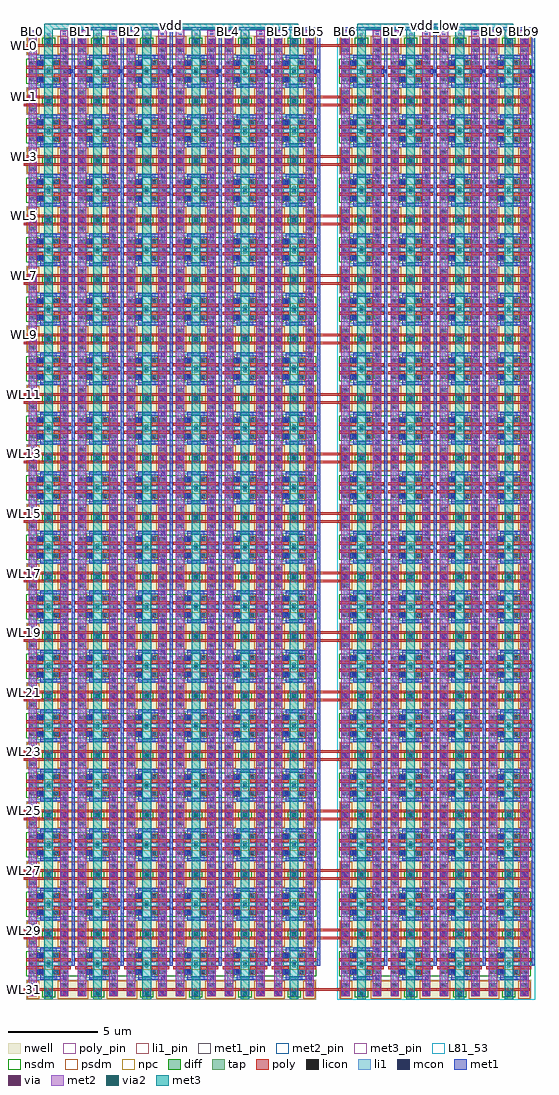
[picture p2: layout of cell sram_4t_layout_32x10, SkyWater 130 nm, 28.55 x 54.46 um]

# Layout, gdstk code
import gdstk
lib = gdstk.Library(unit=1e-6, precision=1e-09)
def R(c, l, rs):  # rectangles x0, y0, x1, y1
    for r in rs: c.add(gdstk.rectangle(r[:2], r[2:], *l))
def A(c, l, x, y, w, h, nx, ny, dx, dy):  # array of equal rectangles
    R(c, l, [(x+i*dx, y+j*dy, x+i*dx+w, y+j*dy+h) for i in range(nx) for j in range(ny)])
nwell = (64, 20)
diff = (65, 20)
tap = (65, 44)
poly_pin = (66, 16)
poly = (66, 20)
licon = (66, 44)
li1_pin = (67, 16)
li1 = (67, 20)
mcon = (67, 44)
met1_pin = (68, 16)
met1 = (68, 20)
via = (68, 44)
met2_pin = (69, 16)
met2 = (69, 20)
via2 = (69, 44)
met3_pin = (70, 16)
met3 = (70, 20)
L81_53 = (81, 53)
nsdm = (93, 44)
psdm = (94, 20)
npc = (95, 20)

sram_4t_layout = lib.new_cell('sram_4t_layout')
R(sram_4t_layout, nwell, [(0.49,1.47,2.98,2.56)])
R(sram_4t_layout, diff, [(0.62,0.44,1.04,1.13), (2.43,0.44,2.85,1.13), (0.67,1.65,1.09,2.38), (2.38,1.65,2.8,2.38)])
R(sram_4t_layout, tap, [(1.64,0.36,1.83,0.77), (1.5,2.14,1.98,2.31)])
R(sram_4t_layout, poly, [(0.49,0.71,1.45,0.86), (2.02,0.71,2.98,0.86), (1.12,0.86,1.45,1.19), (2.02,0.86,2.35,1.19), (0.54,1.92,2.93,2.07)])
A(sram_4t_layout, licon, 0.7, 0.48, 0.17, 0.17, 3, 1, 0.95, 0)
R(sram_4t_layout, licon, [(0.7,0.92,0.87,1.09), (2.6,0.92,2.77,1.09), (1.23,0.94,1.4,1.11), (2.07,0.94,2.24,1.11), (0.75,1.69,0.92,1.86), (2.55,1.69,2.72,1.86), (0.75,2.14,0.92,2.31), (1.66,2.14,1.83,2.31), (2.55,2.14,2.72,2.31)])
R(sram_4t_layout, li1, [(0.62,0.44,2.85,0.65), (1.64,0.65,1.83,0.69), (1.15,0.9,1.48,1.15), (1.99,0.9,2.32,1.15), (0.62,0.92,0.95,1.13), (2.52,0.92,2.85,1.13), (0.74,1.13,0.95,1.32), (2.52,1.13,2.73,1.69), (2.02,1.15,2.2,1.32), (0.74,1.32,2.2,1.49), (0.74,1.49,0.95,1.69), (0.67,1.69,1,1.86), (2.47,1.69,2.8,1.86), (1.53,2.08,1.95,2.37), (0.67,2.09,1.01,2.36), (2.46,2.09,2.8,2.36)])
R(sram_4t_layout, mcon, [(1.23,0.94,1.4,1.11), (2.55,1.26,2.72,1.43), (0.75,2.14,0.92,2.31), (1.66,2.14,1.83,2.31), (2.55,2.14,2.72,2.31)])
R(sram_4t_layout, met1, [(1.12,0.86,1.45,1.19), (1.27,1.19,1.45,1.26), (2.49,1.2,2.76,1.26), (1.27,1.26,2.76,1.45), (2.49,1.45,2.76,1.49), (1.5,2.08,1.98,2.37), (0.67,2.09,1.01,2.36), (2.46,2.09,2.8,2.36)])
R(sram_4t_layout, via, [(0.765,2.15,0.915,2.3), (1.67,2.15,1.82,2.3), (2.555,2.15,2.705,2.3)])
R(sram_4t_layout, met2, [(0.62,0.44,1.09,2.38), (2.38,0.44,2.85,2.38), (1.5,2.08,1.98,2.37)])
R(sram_4t_layout, via2, [(1.645,2.125,1.845,2.325)])
R(sram_4t_layout, met3, [(1.5,0.36,1.98,2.54)])
R(sram_4t_layout, nsdm, [(0.495,0.315,1.165,1.255), (2.305,0.315,2.975,1.255), (1.375,2.015,2.105,2.435)])
R(sram_4t_layout, psdm, [(1.515,0.235,1.955,0.895), (0.545,1.525,1.215,2.505), (2.255,1.525,2.925,2.505)])
R(sram_4t_layout, npc, [(1.13,0.84,1.5,1.21), (1.97,0.84,2.34,1.21)])
sram_4t_layout.add(gdstk.Label('Q', (1.16,1.36), layer=67, texttype=5))
sram_4t_layout.add(gdstk.Label('Qb', (2.29,1.34), layer=68, texttype=5))
sram_4t_layout.add(gdstk.Label('vdd', (1.73,1.8), layer=70, texttype=5))
sram_4t_layout.add(gdstk.Label('gnd', (1.36,0.53), layer=67, texttype=5))
sram_4t_layout.add(gdstk.Label('WL', (1.42,2), layer=66, texttype=5))
sram_4t_layout.add(gdstk.Label('BL', (0.87,2.36), layer=69, texttype=5))
sram_4t_layout.add(gdstk.Label('BLb', (2.58,2.36), layer=69, texttype=5))

sram_4t_layout_32x1 = lib.new_cell('sram_4t_layout_32x1')
A(sram_4t_layout_32x1, poly_pin, -0.07, -21.19, 0.05, 0.08, 1, 3, 0, 3.32)
R(sram_4t_layout_32x1, poly_pin, [(-0.07,-51.07,-0.02,-50.99), (-0.07,-48.21,-0.02,-48.13), (-0.07,-47.75,-0.02,-47.67), (-0.07,-44.88,-0.02,-44.8), (-0.07,-44.43,-0.02,-44.35), (-0.07,-41.57,-0.02,-41.49), (-0.07,-41.12,-0.02,-41.04), (-0.07,-38.25,-0.02,-38.17), (-0.07,-37.79,-0.02,-37.71), (-0.07,-34.93,-0.02,-34.85), (-0.07,-34.47,-0.02,-34.39), (-0.07,-31.61,-0.02,-31.53), (-0.07,-31.15,-0.02,-31.07), (-0.07,-28.29,-0.02,-28.21), (-0.07,-27.83,-0.02,-27.75), (-0.07,-24.96,-0.02,-24.88), (-0.07,-24.51,-0.02,-24.43), (-0.07,-21.65,-0.02,-21.57), (-0.08,-18.33,-0.03,-18.25), (-0.06,-15.01,-0.01,-14.93), (-0.07,-11.69,-0.02,-11.61), (-0.07,-11.22,-0.02,-11.14), (-0.07,-8.36,-0.02,-8.28), (-0.07,-7.91,-0.02,-7.83), (-0.07,-5.05,-0.02,-4.97), (-0.07,-4.59,-0.02,-4.51), (-0.07,-1.73,-0.02,-1.65), (-0.07,-1.27,-0.02,-1.19), (-0.08,1.59,-0.01,1.67)])
R(sram_4t_layout_32x1, poly, [(-0.09,-51.1,2.44,-50.95), (-0.09,-48.24,2.44,-48.09), (-0.09,-47.78,2.44,-47.63), (-0.09,-44.92,2.44,-44.77), (-0.09,-44.46,2.44,-44.31), (-0.09,-41.6,2.44,-41.45), (-0.09,-41.14,2.44,-40.99), (-0.09,-38.28,2.44,-38.13), (-0.09,-37.82,2.44,-37.67), (-0.09,-34.96,2.44,-34.81), (-0.09,-34.5,2.44,-34.35), (-0.09,-31.64,2.44,-31.49), (-0.09,-31.18,2.44,-31.03), (-0.09,-28.32,2.44,-28.17), (-0.09,-27.86,2.44,-27.71), (-0.09,-25,2.44,-24.85), (-0.09,-24.54,2.44,-24.39), (-0.09,-21.68,2.44,-21.53), (-0.09,-21.22,2.44,-21.07), (-0.09,-18.36,2.44,-18.21), (-0.09,-17.9,2.44,-17.75), (-0.09,-15.04,2.44,-14.89), (-0.09,-14.58,2.44,-14.43), (-0.09,-11.72,2.44,-11.57), (-0.09,-11.26,2.44,-11.11), (-0.09,-8.4,2.44,-8.25), (-0.09,-7.94,2.44,-7.79), (-0.09,-5.08,2.44,-4.93), (-0.09,-4.62,2.44,-4.47), (-0.09,-1.76,2.44,-1.61), (-0.09,-1.3,2.44,-1.15), (-0.09,1.56,2.44,1.71)])
R(sram_4t_layout_32x1, li1_pin, [(2.53,0.13,2.63,0.24)])
A(sram_4t_layout_32x1, li1, 1.89, -49.72, 0.81, 0.25, 1, 7, 0, 3.32)
A(sram_4t_layout_32x1, li1, 2.53, -49.47, 0.17, 3.07, 1, 15, 0, 3.32)
A(sram_4t_layout_32x1, li1, 1.89, -23.16, 0.81, 0.25, 1, 5, 0, 3.32)
R(sram_4t_layout_32x1, li1, [(1.87,-26.48,2.7,-26.23), (1.87,-6.56,2.7,-6.31), (1.89,-3.24,2.7,-2.99), (1.89,0.08,2.7,0.33)])
R(sram_4t_layout_32x1, met2_pin, [(0.28,2.23,0.45,2.31), (2.04,2.24,2.21,2.32)])
R(sram_4t_layout_32x1, met2, [(0.13,-51.41,0.6,2.35), (1.89,-51.41,2.36,2.35)])
R(sram_4t_layout_32x1, met3_pin, [(1.18,2.22,1.33,2.32)])
R(sram_4t_layout_32x1, met3, [(1.01,-51.4,1.49,2.35)])
sram_4t_layout_32x1.add(gdstk.Reference(sram_4t_layout, (-0.49,-49.03), x_reflection=True))
sram_4t_layout_32x1.add(gdstk.Reference(sram_4t_layout, (-0.49,-50.16)))
sram_4t_layout_32x1.add(gdstk.Reference(sram_4t_layout, (-0.49,-45.71), x_reflection=True))
sram_4t_layout_32x1.add(gdstk.Reference(sram_4t_layout, (-0.49,-42.39), x_reflection=True))
sram_4t_layout_32x1.add(gdstk.Reference(sram_4t_layout, (-0.49,-46.84)))
sram_4t_layout_32x1.add(gdstk.Reference(sram_4t_layout, (-0.49,-43.52)))
sram_4t_layout_32x1.add(gdstk.Reference(sram_4t_layout, (-0.49,-39.07), x_reflection=True))
sram_4t_layout_32x1.add(gdstk.Reference(sram_4t_layout, (-0.49,-35.75), x_reflection=True))
sram_4t_layout_32x1.add(gdstk.Reference(sram_4t_layout, (-0.49,-40.2)))
sram_4t_layout_32x1.add(gdstk.Reference(sram_4t_layout, (-0.49,-36.88)))
sram_4t_layout_32x1.add(gdstk.Reference(sram_4t_layout, (-0.49,-32.43), x_reflection=True))
sram_4t_layout_32x1.add(gdstk.Reference(sram_4t_layout, (-0.49,-29.11), x_reflection=True))
sram_4t_layout_32x1.add(gdstk.Reference(sram_4t_layout, (-0.49,-33.56)))
sram_4t_layout_32x1.add(gdstk.Reference(sram_4t_layout, (-0.49,-30.24)))
sram_4t_layout_32x1.add(gdstk.Reference(sram_4t_layout, (-0.49,-25.79), x_reflection=True))
sram_4t_layout_32x1.add(gdstk.Reference(sram_4t_layout, (-0.49,-22.47), x_reflection=True))
sram_4t_layout_32x1.add(gdstk.Reference(sram_4t_layout, (-0.49,-26.92)))
sram_4t_layout_32x1.add(gdstk.Reference(sram_4t_layout, (-0.49,-23.6)))
sram_4t_layout_32x1.add(gdstk.Reference(sram_4t_layout, (-0.49,-19.15), x_reflection=True))
sram_4t_layout_32x1.add(gdstk.Reference(sram_4t_layout, (-0.49,-15.83), x_reflection=True))
sram_4t_layout_32x1.add(gdstk.Reference(sram_4t_layout, (-0.49,-20.28)))
sram_4t_layout_32x1.add(gdstk.Reference(sram_4t_layout, (-0.49,-16.96)))
sram_4t_layout_32x1.add(gdstk.Reference(sram_4t_layout, (-0.49,-12.51), x_reflection=True))
sram_4t_layout_32x1.add(gdstk.Reference(sram_4t_layout, (-0.49,-9.19), x_reflection=True))
sram_4t_layout_32x1.add(gdstk.Reference(sram_4t_layout, (-0.49,-13.64)))
sram_4t_layout_32x1.add(gdstk.Reference(sram_4t_layout, (-0.49,-10.32)))
sram_4t_layout_32x1.add(gdstk.Reference(sram_4t_layout, (-0.49,-5.87), x_reflection=True))
sram_4t_layout_32x1.add(gdstk.Reference(sram_4t_layout, (-0.49,-2.55), x_reflection=True))
sram_4t_layout_32x1.add(gdstk.Reference(sram_4t_layout, (-0.49,-7)))
sram_4t_layout_32x1.add(gdstk.Reference(sram_4t_layout, (-0.49,-3.68)))
sram_4t_layout_32x1.add(gdstk.Reference(sram_4t_layout, (-0.49,0.77), x_reflection=True))
sram_4t_layout_32x1.add(gdstk.Reference(sram_4t_layout, (-0.49,-0.36)))
sram_4t_layout_32x1.add(gdstk.Label('WL0', (-0.045,1.63), layer=66, texttype=5))
sram_4t_layout_32x1.add(gdstk.Label('WL1', (-0.045,-1.23), layer=66, texttype=5))
sram_4t_layout_32x1.add(gdstk.Label('WL2', (-0.045,-1.69), layer=66, texttype=5))
sram_4t_layout_32x1.add(gdstk.Label('WL3', (-0.045,-4.55), layer=66, texttype=5))
sram_4t_layout_32x1.add(gdstk.Label('WL4', (-0.045,-5.01), layer=66, texttype=5))
sram_4t_layout_32x1.add(gdstk.Label('WL5', (-0.045,-7.87), layer=66, texttype=5))
sram_4t_layout_32x1.add(gdstk.Label('WL6', (-0.045,-8.32), layer=66, texttype=5))
sram_4t_layout_32x1.add(gdstk.Label('WL7', (-0.045,-11.18), layer=66, texttype=5))
sram_4t_layout_32x1.add(gdstk.Label('WL8', (-0.045,-11.65), layer=66, texttype=5))
sram_4t_layout_32x1.add(gdstk.Label('WL9', (-0.045,-14.51), layer=66, texttype=5))
sram_4t_layout_32x1.add(gdstk.Label('WL10', (-0.035,-14.97), layer=66, texttype=5))
sram_4t_layout_32x1.add(gdstk.Label('WL11', (-0.045,-17.83), layer=66, texttype=5))
sram_4t_layout_32x1.add(gdstk.Label('WL12', (-0.055,-18.29), layer=66, texttype=5))
sram_4t_layout_32x1.add(gdstk.Label('WL13', (-0.045,-21.15), layer=66, texttype=5))
sram_4t_layout_32x1.add(gdstk.Label('WL14', (-0.045,-21.61), layer=66, texttype=5))
sram_4t_layout_32x1.add(gdstk.Label('WL15', (-0.045,-24.47), layer=66, texttype=5))
sram_4t_layout_32x1.add(gdstk.Label('WL16', (-0.045,-24.92), layer=66, texttype=5))
sram_4t_layout_32x1.add(gdstk.Label('WL17', (-0.045,-27.79), layer=66, texttype=5))
sram_4t_layout_32x1.add(gdstk.Label('WL18', (-0.045,-28.25), layer=66, texttype=5))
sram_4t_layout_32x1.add(gdstk.Label('WL19', (-0.045,-31.11), layer=66, texttype=5))
sram_4t_layout_32x1.add(gdstk.Label('WL20', (-0.045,-31.57), layer=66, texttype=5))
sram_4t_layout_32x1.add(gdstk.Label('WL21', (-0.045,-34.43), layer=66, texttype=5))
sram_4t_layout_32x1.add(gdstk.Label('WL22', (-0.045,-34.89), layer=66, texttype=5))
sram_4t_layout_32x1.add(gdstk.Label('WL23', (-0.045,-37.75), layer=66, texttype=5))
sram_4t_layout_32x1.add(gdstk.Label('WL24', (-0.045,-38.21), layer=66, texttype=5))
sram_4t_layout_32x1.add(gdstk.Label('WL25', (-0.045,-41.08), layer=66, texttype=5))
sram_4t_layout_32x1.add(gdstk.Label('WL26', (-0.045,-41.53), layer=66, texttype=5))
sram_4t_layout_32x1.add(gdstk.Label('WL27', (-0.045,-44.39), layer=66, texttype=5))
sram_4t_layout_32x1.add(gdstk.Label('WL28', (-0.045,-44.84), layer=66, texttype=5))
sram_4t_layout_32x1.add(gdstk.Label('WL29', (-0.045,-47.71), layer=66, texttype=5))
sram_4t_layout_32x1.add(gdstk.Label('WL30', (-0.045,-48.17), layer=66, texttype=5))
sram_4t_layout_32x1.add(gdstk.Label('WL31', (-0.045,-51.03), layer=66, texttype=5))
sram_4t_layout_32x1.add(gdstk.Label('BL', (0.365,2.27), layer=69, texttype=5))
sram_4t_layout_32x1.add(gdstk.Label('BLb', (2.125,2.28), layer=69, texttype=5))
sram_4t_layout_32x1.add(gdstk.Label('vdd', (1.255,2.27), layer=70, texttype=5))
sram_4t_layout_32x1.add(gdstk.Label('gnd', (2.58,0.185), layer=67, texttype=5))

sram_4t_layout_32x10 = lib.new_cell('sram_4t_layout_32x10')
A(sram_4t_layout_32x10, nwell, 0.09, 2.9, 16.19, 1.51, 1, 15, 0, 3.32)
A(sram_4t_layout_32x10, nwell, 17.55, 2.9, 10.71, 1.51, 1, 15, 0, 3.32)
R(sram_4t_layout_32x10, nwell, [(0.09,0,16.28,1.09), (17.55,0,28.25,1.09), (0.09,52.7,16.28,53.79), (17.55,52.7,28.25,53.79)])
R(sram_4t_layout_32x10, poly_pin, [(-0.04,0.52,0.01,0.59), (-0.04,3.38,0.01,3.45), (-0.04,3.84,0.01,3.91), (-0.04,6.7,0.01,6.77), (-0.04,7.16,0.01,7.23), (-0.04,10.02,0.01,10.09), (-0.03,10.49,0.02,10.56), (-0.04,13.34,0.01,13.41), (-0.04,13.8,0.01,13.87), (-0.04,16.66,0.01,16.73), (-0.04,17.12,0.01,17.19), (-0.04,19.98,0.01,20.05), (-0.04,20.44,0.01,20.51), (-0.04,23.3,0.01,23.37), (-0.04,23.76,0.01,23.83), (-0.04,26.62,0.01,26.69), (-0.04,27.08,0.01,27.15), (-0.04,29.94,0.01,30.01), (-0.04,30.41,0.01,30.48), (-0.04,33.26,0.01,33.33), (-0.04,33.72,0.01,33.79), (-0.04,36.58,0.01,36.65), (-0.04,37.05,0.01,37.12), (-0.04,39.9,0.01,39.97), (-0.04,40.37,0.01,40.44), (-0.04,43.22,0.01,43.29), (-0.04,43.69,0.01,43.76), (-0.04,46.54,0.01,46.61), (-0.04,47,0.01,47.07), (-0.04,49.86,0.01,49.93), (-0.04,50.33,0.01,50.4), (-0.04,53.19,0.01,53.26)])
R(sram_4t_layout_32x10, poly, [(-0.05,0.49,28.21,0.64), (-0.05,3.35,28.21,3.5), (-0.05,3.81,28.21,3.96), (-0.05,6.67,28.21,6.82), (-0.05,7.13,28.21,7.28), (-0.05,9.99,28.21,10.14), (-0.05,10.45,28.21,10.6), (-0.05,13.31,28.21,13.46), (-0.05,13.77,28.21,13.92), (-0.05,16.63,28.21,16.78), (-0.05,17.09,28.21,17.24), (-0.05,19.95,28.21,20.1), (-0.05,20.41,28.21,20.56), (-0.05,23.27,28.21,23.42), (-0.05,23.73,28.21,23.88), (-0.05,26.59,28.21,26.74), (-0.05,27.05,28.21,27.2), (-0.05,29.91,28.21,30.06), (-0.05,30.37,28.21,30.52), (-0.05,33.23,28.21,33.38), (-0.05,33.69,28.21,33.84), (-0.05,36.55,28.21,36.7), (-0.05,37.01,28.21,37.16), (-0.05,39.87,28.21,40.02), (-0.05,40.33,28.21,40.48), (-0.05,43.19,28.21,43.34), (-0.05,43.65,28.21,43.8), (-0.05,46.51,28.21,46.66), (-0.05,46.97,28.21,47.12), (-0.05,49.83,28.21,49.98), (-0.05,50.29,28.21,50.44), (-0.05,53.15,28.21,53.3)])
R(sram_4t_layout_32x10, li1, [(8.03,51.7,8.2,51.87), (25.5,51.7,25.67,51.87), (2.52,51.71,2.69,51.88), (5.28,51.71,5.45,51.88), (13.51,51.71,13.68,51.88), (16.26,51.71,16.43,51.88), (20.01,51.71,20.18,51.88), (22.77,51.71,22.94,51.88), (28.25,51.71,28.42,51.88), (10.76,51.72,10.93,51.89)])
R(sram_4t_layout_32x10, mcon, [(8.03,51.7,8.2,51.87), (25.5,51.7,25.67,51.87), (2.52,51.71,2.69,51.88), (5.28,51.71,5.45,51.88), (13.51,51.71,13.68,51.88), (16.26,51.71,16.43,51.88), (20.01,51.71,20.18,51.88), (22.77,51.71,22.94,51.88), (28.25,51.71,28.42,51.88), (10.76,51.72,10.93,51.89)])
R(sram_4t_layout_32x10, met1_pin, [(16.25,54.1,16.45,54.2), (17.5,54.1,17.65,54.2)])
A(sram_4t_layout_32x10, met1, 2.62, 1.87, 0.17, 49.8, 6, 1, 2.74, 0)
A(sram_4t_layout_32x10, met1, 20.08, 1.87, 0.17, 49.8, 4, 1, 2.74, 0)
A(sram_4t_layout_32x10, met1, 2.45, 51.67, 0.34, 0.25, 6, 1, 2.74, 0)
A(sram_4t_layout_32x10, met1, 19.91, 51.67, 0.34, 0.25, 4, 1, 2.74, 0)
A(sram_4t_layout_32x10, met1, 2.62, 51.92, 0.17, 2.15, 6, 1, 2.74, 0)
A(sram_4t_layout_32x10, met1, 20.08, 51.92, 0.17, 2.15, 4, 1, 2.74, 0)
R(sram_4t_layout_32x10, met1, [(2.62,54.07,16.5,54.25), (17.45,54.07,28.47,54.25)])
R(sram_4t_layout_32x10, met2_pin, [(0.37,53.99,0.52,54.05), (2.15,54,2.3,54.06), (3.11,54,3.26,54.06), (4.86,54,5.01,54.06), (5.86,54,6.01,54.06), (7.62,54,7.77,54.06), (8.6,54,8.75,54.06), (10.35,54,10.5,54.06), (11.33,54,11.48,54.06), (13.09,54,13.24,54.06), (14.07,54,14.22,54.06), (15.83,54,15.98,54.06), (17.83,54,17.98,54.06), (19.6,54,19.75,54.06), (20.58,54,20.73,54.06), (22.34,54,22.49,54.06), (23.32,54,23.47,54.06), (25.07,54,25.22,54.06), (26.06,54,26.21,54.06), (27.82,54,27.97,54.06)])
R(sram_4t_layout_32x10, met2, [(0.22,0.18,0.69,54.07), (1.98,0.18,2.45,54.07), (2.96,0.18,3.43,54.07), (4.72,0.18,5.19,54.07), (5.7,0.18,6.17,54.07), (7.46,0.18,7.93,54.07), (8.44,0.18,8.91,54.07), (10.2,0.18,10.67,54.07), (11.18,0.18,11.65,54.07), (12.94,0.18,13.41,54.07), (13.92,0.18,14.39,54.07), (15.68,0.18,16.15,54.07), (17.68,0.18,18.15,54.07), (19.44,0.18,19.91,54.07), (20.42,0.18,20.89,54.07), (22.18,0.18,22.65,54.07), (23.16,0.18,23.63,54.07), (24.92,0.18,25.39,54.07), (25.9,0.18,26.37,54.07), (27.66,0.18,28.13,54.07)])
R(sram_4t_layout_32x10, met3_pin, [(8.1,54.29,8.25,54.42), (22.83,54.29,22.98,54.42)])
A(sram_4t_layout_32x10, met3, 1.1, 0.19, 0.48, 53.95, 6, 1, 2.74, 0)
A(sram_4t_layout_32x10, met3, 18.56, 0.19, 0.48, 53.95, 4, 1, 2.74, 0)
R(sram_4t_layout_32x10, met3, [(1.1,54.14,15.28,54.46), (18.56,54.14,27.26,54.45)])
R(sram_4t_layout_32x10, L81_53, [(17.45,0,28.5,54.25)])
A(sram_4t_layout_32x10, nsdm, 2.575, 1.305, 0.26, 1.38, 5, 16, 2.74, 3.32)
A(sram_4t_layout_32x10, nsdm, 20.035, 1.305, 0.26, 1.38, 3, 16, 2.74, 3.32)
A(sram_4t_layout_32x10, psdm, 2.525, 0.055, 0.36, 0.98, 5, 2, 2.74, 52.7)
A(sram_4t_layout_32x10, psdm, 19.985, 0.055, 0.36, 0.98, 3, 2, 2.74, 52.7)
A(sram_4t_layout_32x10, psdm, 2.525, 2.955, 0.36, 1.4, 5, 15, 2.74, 3.32)
A(sram_4t_layout_32x10, psdm, 19.985, 2.955, 0.36, 1.4, 3, 15, 2.74, 3.32)
sram_4t_layout_32x10.add(gdstk.Reference(sram_4t_layout_32x1, (0.09,51.59)))
sram_4t_layout_32x10.add(gdstk.Reference(sram_4t_layout_32x1, (2.83,51.59)))
sram_4t_layout_32x10.add(gdstk.Reference(sram_4t_layout_32x1, (5.57,51.59)))
sram_4t_layout_32x10.add(gdstk.Reference(sram_4t_layout_32x1, (8.31,51.59)))
sram_4t_layout_32x10.add(gdstk.Reference(sram_4t_layout_32x1, (11.05,51.59)))
sram_4t_layout_32x10.add(gdstk.Reference(sram_4t_layout_32x1, (13.79,51.59)))
sram_4t_layout_32x10.add(gdstk.Reference(sram_4t_layout_32x1, (17.55,51.59)))
sram_4t_layout_32x10.add(gdstk.Reference(sram_4t_layout_32x1, (20.29,51.59)))
sram_4t_layout_32x10.add(gdstk.Reference(sram_4t_layout_32x1, (23.03,51.59)))
sram_4t_layout_32x10.add(gdstk.Reference(sram_4t_layout_32x1, (25.77,51.59)))
sram_4t_layout_32x10.add(gdstk.Label('vdd', (8.175,54.355), layer=70, texttype=5))
sram_4t_layout_32x10.add(gdstk.Label('vdd_low', (22.905,54.355), layer=70, texttype=5))
sram_4t_layout_32x10.add(gdstk.Label('BL0', (0.445,54.02), layer=69, texttype=5))
sram_4t_layout_32x10.add(gdstk.Label('BL1', (3.185,54.03), layer=69, texttype=5))
sram_4t_layout_32x10.add(gdstk.Label('BL2', (5.935,54.03), layer=69, texttype=5))
sram_4t_layout_32x10.add(gdstk.Label('BL3', (8.675,54.03), layer=69, texttype=5))
sram_4t_layout_32x10.add(gdstk.Label('BL4', (11.405,54.03), layer=69, texttype=5))
sram_4t_layout_32x10.add(gdstk.Label('BL5', (14.145,54.03), layer=69, texttype=5))
sram_4t_layout_32x10.add(gdstk.Label('BL6', (17.905,54.03), layer=69, texttype=5))
sram_4t_layout_32x10.add(gdstk.Label('BL7', (20.655,54.03), layer=69, texttype=5))
sram_4t_layout_32x10.add(gdstk.Label('BL8', (23.395,54.03), layer=69, texttype=5))
sram_4t_layout_32x10.add(gdstk.Label('BL9', (26.135,54.03), layer=69, texttype=5))
sram_4t_layout_32x10.add(gdstk.Label('BLb0', (2.225,54.03), layer=69, texttype=5))
sram_4t_layout_32x10.add(gdstk.Label('BLb1', (4.935,54.03), layer=69, texttype=5))
sram_4t_layout_32x10.add(gdstk.Label('BLb2', (7.695,54.03), layer=69, texttype=5))
sram_4t_layout_32x10.add(gdstk.Label('BLb3', (10.425,54.03), layer=69, texttype=5))
sram_4t_layout_32x10.add(gdstk.Label('BLb4', (13.165,54.03), layer=69, texttype=5))
sram_4t_layout_32x10.add(gdstk.Label('BLb5', (15.905,54.03), layer=69, texttype=5))
sram_4t_layout_32x10.add(gdstk.Label('BLb6', (19.675,54.03), layer=69, texttype=5))
sram_4t_layout_32x10.add(gdstk.Label('BLb7', (22.415,54.03), layer=69, texttype=5))
sram_4t_layout_32x10.add(gdstk.Label('BLb8', (25.145,54.03), layer=69, texttype=5))
sram_4t_layout_32x10.add(gdstk.Label('BLb9', (27.895,54.03), layer=69, texttype=5))
sram_4t_layout_32x10.add(gdstk.Label('WL0', (-0.015,53.225), layer=66, texttype=5))
sram_4t_layout_32x10.add(gdstk.Label('WL1', (-0.015,50.365), layer=66, texttype=5))
sram_4t_layout_32x10.add(gdstk.Label('WL2', (-0.015,49.895), layer=66, texttype=5))
sram_4t_layout_32x10.add(gdstk.Label('WL3', (-0.015,47.035), layer=66, texttype=5))
sram_4t_layout_32x10.add(gdstk.Label('WL4', (-0.015,46.575), layer=66, texttype=5))
sram_4t_layout_32x10.add(gdstk.Label('WL5', (-0.015,43.725), layer=66, texttype=5))
sram_4t_layout_32x10.add(gdstk.Label('WL6', (-0.015,43.255), layer=66, texttype=5))
sram_4t_layout_32x10.add(gdstk.Label('WL7', (-0.015,40.405), layer=66, texttype=5))
sram_4t_layout_32x10.add(gdstk.Label('WL8', (-0.015,39.935), layer=66, texttype=5))
sram_4t_layout_32x10.add(gdstk.Label('WL9', (-0.015,37.085), layer=66, texttype=5))
sram_4t_layout_32x10.add(gdstk.Label('WL10', (-0.015,36.615), layer=66, texttype=5))
sram_4t_layout_32x10.add(gdstk.Label('WL11', (-0.015,33.755), layer=66, texttype=5))
sram_4t_layout_32x10.add(gdstk.Label('WL12', (-0.015,33.295), layer=66, texttype=5))
sram_4t_layout_32x10.add(gdstk.Label('WL13', (-0.015,30.445), layer=66, texttype=5))
sram_4t_layout_32x10.add(gdstk.Label('WL14', (-0.015,29.975), layer=66, texttype=5))
sram_4t_layout_32x10.add(gdstk.Label('WL15', (-0.015,27.115), layer=66, texttype=5))
sram_4t_layout_32x10.add(gdstk.Label('WL16', (-0.015,26.655), layer=66, texttype=5))
sram_4t_layout_32x10.add(gdstk.Label('WL17', (-0.015,23.795), layer=66, texttype=5))
sram_4t_layout_32x10.add(gdstk.Label('WL18', (-0.015,23.335), layer=66, texttype=5))
sram_4t_layout_32x10.add(gdstk.Label('WL19', (-0.015,20.475), layer=66, texttype=5))
sram_4t_layout_32x10.add(gdstk.Label('WL20', (-0.015,20.015), layer=66, texttype=5))
sram_4t_layout_32x10.add(gdstk.Label('WL21', (-0.015,17.155), layer=66, texttype=5))
sram_4t_layout_32x10.add(gdstk.Label('WL22', (-0.015,16.695), layer=66, texttype=5))
sram_4t_layout_32x10.add(gdstk.Label('WL23', (-0.015,13.835), layer=66, texttype=5))
sram_4t_layout_32x10.add(gdstk.Label('WL24', (-0.015,13.375), layer=66, texttype=5))
sram_4t_layout_32x10.add(gdstk.Label('WL25', (-0.005,10.525), layer=66, texttype=5))
sram_4t_layout_32x10.add(gdstk.Label('WL26', (-0.015,10.055), layer=66, texttype=5))
sram_4t_layout_32x10.add(gdstk.Label('WL27', (-0.015,7.195), layer=66, texttype=5))
sram_4t_layout_32x10.add(gdstk.Label('WL28', (-0.015,6.735), layer=66, texttype=5))
sram_4t_layout_32x10.add(gdstk.Label('WL29', (-0.015,3.875), layer=66, texttype=5))
sram_4t_layout_32x10.add(gdstk.Label('WL30', (-0.015,3.415), layer=66, texttype=5))
sram_4t_layout_32x10.add(gdstk.Label('WL31', (-0.015,0.555), layer=66, texttype=5))
sram_4t_layout_32x10.add(gdstk.Label('vssd2', (17.575,54.15), layer=68, texttype=5))
sram_4t_layout_32x10.add(gdstk.Label('vssd1', (16.35,54.15), layer=68, texttype=5))

lib.write_gds('sram_4t_layout_32x10.gds')
